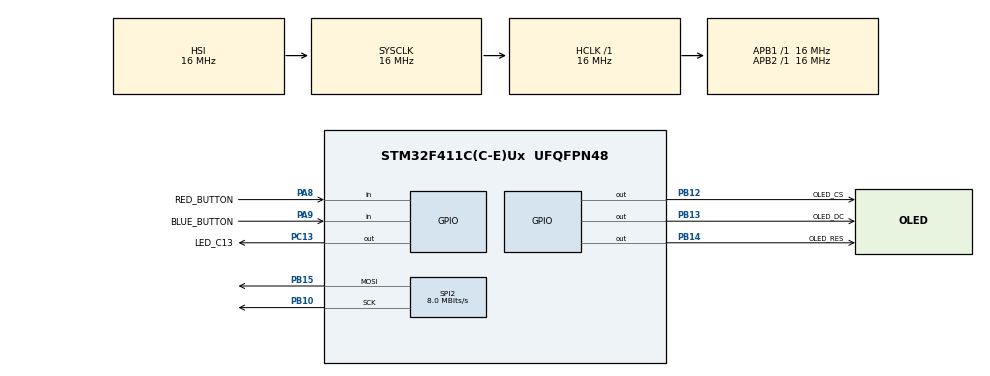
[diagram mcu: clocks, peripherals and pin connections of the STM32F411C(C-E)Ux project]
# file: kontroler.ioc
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Mcu.Family=STM32F4
Mcu.Name=STM32F411C(C-E)Ux
Mcu.Package=UFQFPN48
NVIC.PriorityGroup=NVIC_PRIORITYGROUP_4
PA13.Mode=Serial_Wire
PA13.Signal=SYS_JTMS-SWDIO
PA14.Mode=Serial_Wire
PA14.Signal=SYS_JTCK-SWCLK
PA8.GPIO_Label=RED_BUTTON
PA8.GPIO_PuPd=GPIO_PULLUP
PA8.Signal=GPIO_Input
PA9.GPIO_Label=BLUE_BUTTON
PA9.GPIO_PuPd=GPIO_PULLUP
PA9.Signal=GPIO_Input
PB10.Mode=TX_Only_Simplex_Unidirect_Master
PB10.Signal=SPI2_SCK
PB12.GPIO_Label=OLED_CS
PB12.Signal=GPIO_Output
PB13.GPIO_Label=OLED_DC
PB13.Signal=GPIO_Output
PB14.GPIO_Label=OLED_RES
PB14.Signal=GPIO_Output
PB15.Mode=TX_Only_Simplex_Unidirect_Master
PB15.Signal=SPI2_MOSI
PC13-ANTI_TAMP.GPIO_Label=LED_C13
PC13-ANTI_TAMP.Signal=GPIO_Output
PH0\ -\ OSC_IN.Mode=HSE-External-Oscillator
PH0\ -\ OSC_IN.Signal=RCC_OSC_IN
PH1\ -\ OSC_OUT.Mode=HSE-External-Oscillator
PH1\ -\ OSC_OUT.Signal=RCC_OSC_OUT
ProjectManager.HeapSize=0x200
ProjectManager.StackSize=0x400
ProjectManager.TargetToolchain=STM32CubeIDE
RCC.AHBFreq_Value=16000000
RCC.APB1Freq_Value=16000000
RCC.APB2Freq_Value=16000000
RCC.CortexFreq_Value=16000000
RCC.HSE_VALUE=25000000
RCC.HSI_VALUE=16000000
RCC.LSE_VALUE=32768
RCC.SYSCLKFreq_VALUE=16000000
RCC.VCOOutputFreq_Value=192000000
SPI2.BaudRatePrescaler=SPI_BAUDRATEPRESCALER_2
SPI2.CalculateBaudRate=8.0 MBits/s
SPI2.Direction=SPI_DIRECTION_2LINES
SPI2.Mode=SPI_MODE_MASTER
SPI2.VirtualType=VM_MASTER
board=custom

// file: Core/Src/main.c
/* USER CODE BEGIN Header */
/**
  ******************************************************************************
  * @file           : main.c
  * @brief          : Main program body
  ******************************************************************************
  * @attention
  *
  * Copyright (c) 2026 STMicroelectronics.
  * All rights reserved.
  *
  * This software is licensed under terms that can be found in the LICENSE file
  * in the root directory of this software component.
  * If no LICENSE file comes with this software, it is provided AS-IS.
  *
  ******************************************************************************
  */
/* USER CODE END Header */
#include "main.h"
#include "spi.h"
#include "gpio.h"
#include "oled.h"
#include "images.h"

void SystemClock_Config(void);

int main(void)
{

  /* MCU Configuration--------------------------------------------------------*/

  /* Reset of all peripherals, Initializes the Flash interface and the Systick. */
  HAL_Init();

  /* Configure the system clock */
  SystemClock_Config();

  /* Initialize all configured peripherals */
  MX_GPIO_Init();
  MX_SPI2_Init();
  /* USER CODE BEGIN 2 */
  OLED_Init(); // To odpali ekran
  OLED_DrawImage(main_screen);

  uint32_t last_tick = 0;
  uint8_t sec = 0;
  uint8_t min = 0;
  uint8_t speed = 0;
  /* USER CODE END 2 */

  /* Infinite loop */
  /* USER CODE BEGIN WHILE */
  while (1)
  {
	if (HAL_GetTick() - last_tick >= 1000)
	{
		last_tick = HAL_GetTick();
		sec++;

		if (sec >= 60)
		{
			sec = 0;
			min++;
		}

		OLED_DisplayTime(min, sec);
	}

    if (HAL_GPIO_ReadPin(RED_BUTTON_GPIO_Port, RED_BUTTON_Pin) == GPIO_PIN_RESET)
	{
		if (speed > 0)
			speed--;
		HAL_Delay(100);
	}

    if (HAL_GPIO_ReadPin(BLUE_BUTTON_GPIO_Port, BLUE_BUTTON_Pin) == GPIO_PIN_RESET)
    {
    	if (speed < 99)
    		speed++;
    	HAL_Delay(100);
    }

    OLED_DisplaySpeed(speed);
    /* USER CODE END WHILE */

  }
}

void SystemClock_Config(void)
{
  RCC_OscInitTypeDef RCC_OscInitStruct = {0};
  RCC_ClkInitTypeDef RCC_ClkInitStruct = {0};

  /** Configure the main internal regulator output voltage
  */
  __HAL_RCC_PWR_CLK_ENABLE();
  __HAL_PWR_VOLTAGESCALING_CONFIG(PWR_REGULATOR_VOLTAGE_SCALE1);

  /** Initializes the RCC Oscillators according to the specified parameters
  * in the RCC_OscInitTypeDef structure.
  */
  RCC_OscInitStruct.OscillatorType = RCC_OSCILLATORTYPE_HSI;
  RCC_OscInitStruct.HSIState = RCC_HSI_ON;
  RCC_OscInitStruct.HSICalibrationValue = RCC_HSICALIBRATION_DEFAULT;
  RCC_OscInitStruct.PLL.PLLState = RCC_PLL_NONE;
  if (HAL_RCC_OscConfig(&RCC_OscInitStruct) != HAL_OK)
  {
    Error_Handler();
  }

  /** Initializes the CPU, AHB and APB buses clocks
  */
  RCC_ClkInitStruct.ClockType = RCC_CLOCKTYPE_HCLK|RCC_CLOCKTYPE_SYSCLK
                              |RCC_CLOCKTYPE_PCLK1|RCC_CLOCKTYPE_PCLK2;
  RCC_ClkInitStruct.SYSCLKSource = RCC_SYSCLKSOURCE_HSI;
  RCC_ClkInitStruct.AHBCLKDivider = RCC_SYSCLK_DIV1;
  RCC_ClkInitStruct.APB1CLKDivider = RCC_HCLK_DIV1;
  RCC_ClkInitStruct.APB2CLKDivider = RCC_HCLK_DIV1;

  if (HAL_RCC_ClockConfig(&RCC_ClkInitStruct, FLASH_LATENCY_0) != HAL_OK)
  {
    Error_Handler();
  }
}

void Error_Handler(void)
{
  __disable_irq();
  while (1)
  {
  }
}
